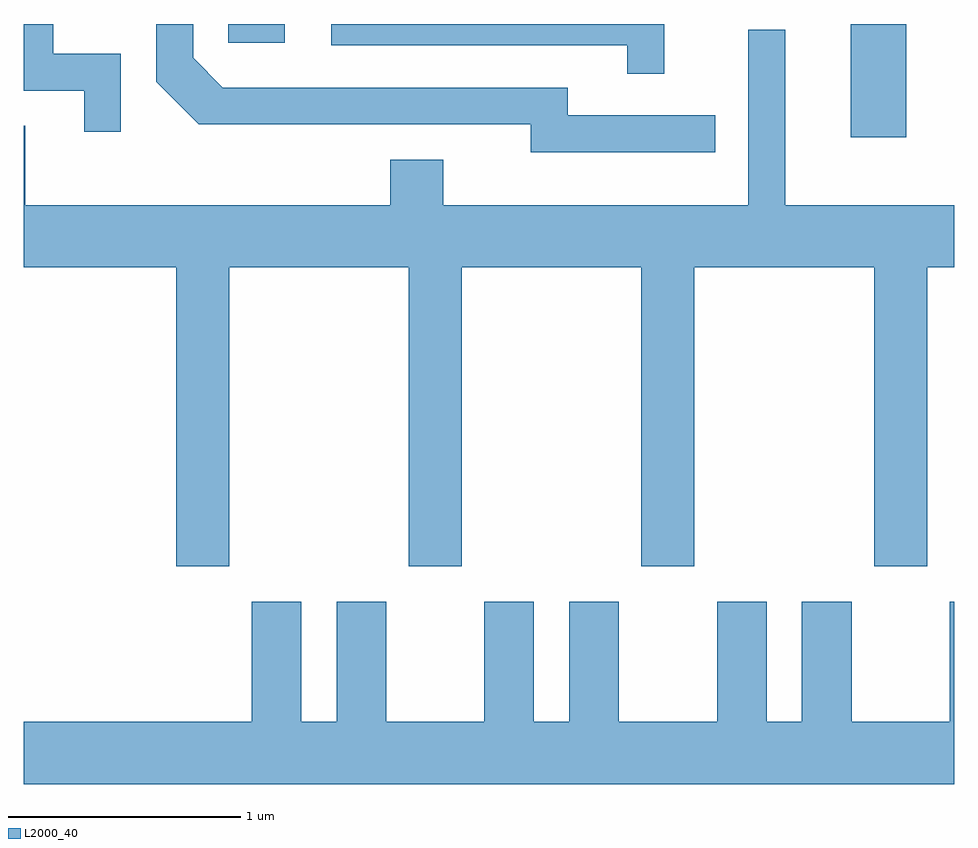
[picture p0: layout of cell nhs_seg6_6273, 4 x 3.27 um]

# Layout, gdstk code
import gdstk
lib = gdstk.Library(unit=1e-6, precision=1e-09)
def R(c, l, rs):  # rectangles x0, y0, x1, y1
    for r in rs: c.add(gdstk.rectangle(r[:2], r[2:], *l))
def P(c, l, *ps):  # polygons
    for p in ps: c.add(gdstk.Polygon(p, *l))
L2000_40 = (2000, 40)

nhs_seg6_6273 = lib.new_cell('nhs_seg6_6273')
R(nhs_seg6_6273, L2000_40, [(379.166,1581.676,379.404,1582.162), (376.491,1582.081,376.733,1582.162)])
P(nhs_seg6_6273, L2000_40, [(378.364,1582.162),(376.933,1582.162),(376.933,1582.071),(378.206,1582.071),(378.206,1581.948),(378.364,1581.948)],
  [(376.029,1582.034),(375.739,1582.034),(375.739,1582.162),(375.611,1582.162),(375.611,1581.876),(375.871,1581.876),(375.871,1581.698),(376.029,1581.698)],
  [(378.583,1581.769),(377.949,1581.769),(377.949,1581.889),(376.467,1581.889),(376.339,1582.017),(376.339,1582.162),(376.181,1582.162),(376.181,1581.914),(376.364,1581.731),(377.791,1581.731),(377.791,1581.611),(378.583,1581.611)],
  [(376.494,1581.116),(377.266,1581.116),(377.266,1579.831),(377.494,1579.831),(377.494,1581.116),(378.266,1581.116),(378.266,1579.831),(378.494,1579.831),(378.494,1581.116),(379.266,1581.116),(379.266,1579.831),(379.494,1579.831),(379.494,1581.116),(379.611,1581.116),(379.611,1581.384),(378.884,1581.384),(378.884,1582.138),(378.726,1582.138),(378.726,1581.384),(377.414,1581.384),(377.414,1581.579),(377.186,1581.579),(377.186,1581.384),(375.619,1581.384),(375.619,1581.724),(375.611,1581.724),(375.611,1581.116),(376.266,1581.116),(376.266,1579.831),(376.494,1579.831)],
  [(379.611,1579.679),(379.591,1579.679),(379.591,1579.164),(379.169,1579.164),(379.169,1579.679),(378.956,1579.679),(378.956,1579.164),(378.804,1579.164),(378.804,1579.679),(378.591,1579.679),(378.591,1579.164),(378.169,1579.164),(378.169,1579.679),(377.956,1579.679),(377.956,1579.164),(377.804,1579.164),(377.804,1579.679),(377.591,1579.679),(377.591,1579.164),(377.169,1579.164),(377.169,1579.679),(376.956,1579.679),(376.956,1579.164),(376.804,1579.164),(376.804,1579.679),(376.591,1579.679),(376.591,1579.164),(375.611,1579.164),(375.611,1578.896),(379.611,1578.896)])

lib.write_gds('nhs_seg6_6273.gds')
